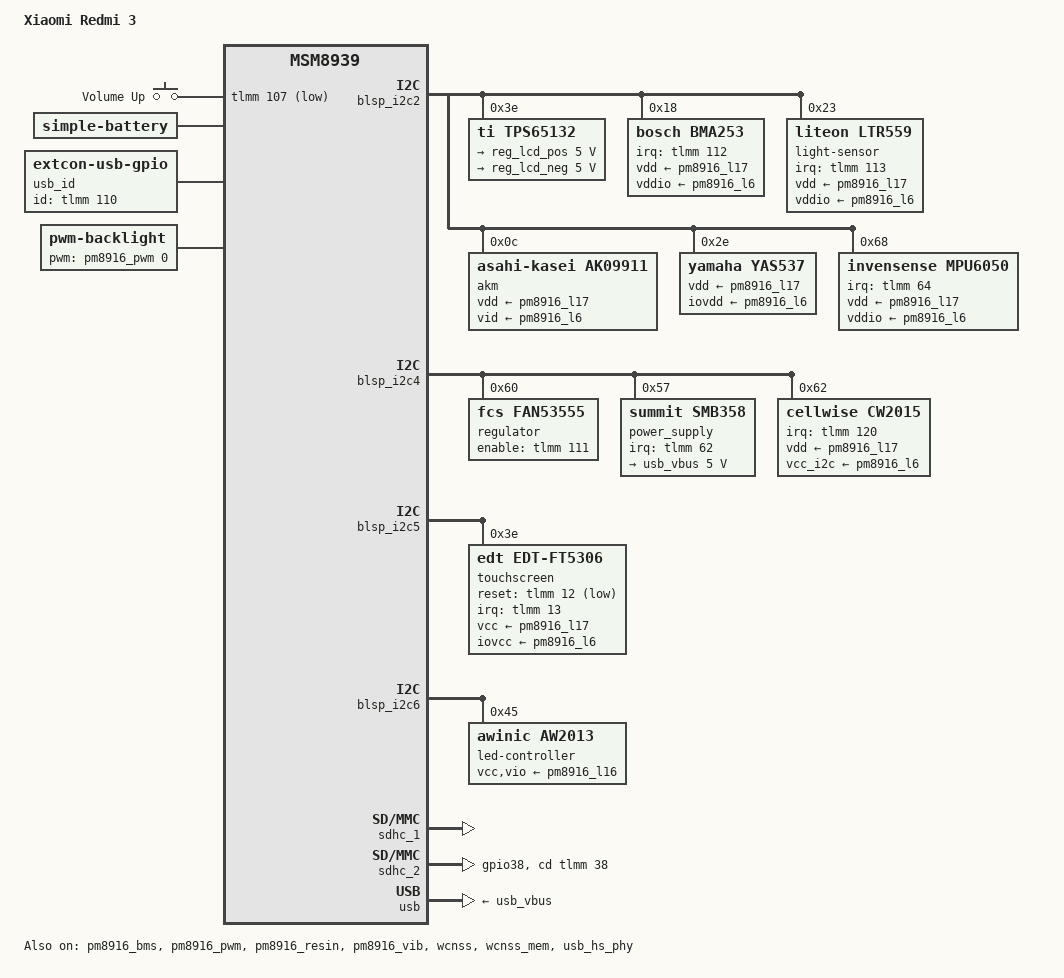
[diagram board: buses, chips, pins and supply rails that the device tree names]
// SPDX-License-Identifier: GPL-2.0-only

/dts-v1/;

#include "msm8939-pm8916.dtsi"
#include "msm8916-modem.dtsi"
#include <dt-bindings/gpio/gpio.h>
#include <dt-bindings/pinctrl/qcom,pmic-mpp.h>
#include <dt-bindings/leds/common.h>
#include <dt-bindings/sound/apq8016-lpass.h>
#include <dt-bindings/power/summit,smb347-charger.h>

/ {
	model = "Xiaomi Redmi 3";
	compatible = "xiaomi,ido", "qcom,msm8939", "qcom,msm8939-qrd-skuk", "qcom,qrd";
	chassis-type = "handset";
	qcom,msm-id = <239 0>;
	qcom,board-id = <0x1000b 11>, <0x2000b 11>;
/*
panel {
		compatible = "xiaomi,hx8394fboe";
		qcom,mdss_dsi_ili9881c_tianma_720p_video {
			compatible = "xiaomi,tianma-ili9881c";
		};

		qcom,mdss_dsi_nt35521s_ebbg_720p_video {
			compatible = "xiaomi,nt35521s-ebbg";
		};

		qcom,mdss_dsi_nt35596_1080p_video {
			compatible = "xiaomi,nt35596";
		};

		qcom,mdss_dsi_r63350_1080p_video {
			compatible = "xiaomi,r63350";
		};

		qcom,mdss_dsi_nt35596_1080p_skuk_video {
			compatible = "mdss,nt35596-skuk";
		};

		qcom,mdss_dsi_hx8394f_boe_720p_video {
			compatible = "xiaomi,hx8394f-boe";
		};
	};

*/
	aliases {
		mmc0 = &sdhc_1; /* eMMC */
		mmc1 = &sdhc_2; /* SD card */
		serial0 = &blsp_uart2;
	};

	chosen {
		stdout-path = "serial0";
		
		bootargs = "fbcon=nodefer earlycon=tty0 console=tty0 clk_ignore_unused pd_ignore_unused";
		#address-cells = <2>;
		#size-cells = <2>;
		ranges;

		framebuffer0: framebuffer@83003000 {
			status= "okay";
			compatible = "simple-framebuffer";
			reg = <0x0 0x83200000 0x0 0x2000000>;
			width = <720>;
			height = <1280>;
			stride = <(720 * 3)>;
			format = "r8g8b8";
		};
		

	};

    reserved-memory {
        /delete-node/ rmtfs@86681000;
		/delete-node/ rfsa@867e0000;
		/delete-node/ tz-apps@86000000;

ramoops@xdfe00000 {
			compatible = "ramoops";
			reg = <0 0xdfe00000 0 0x100000>;
			record-size = <0x4000>;
			console-size = <0x4000>;
};

		cont_splash_mem: framebuffer@83000000 {
			reg = <0x0 0x83000000 0x0 0x2000000>;
			no-map;
		};

		mpss_mem: mpss@86800000 {
			reg = <0x0 0x86800000 0x0 0x5500000>;
			no-map;
		};
        tz-apps@8c400000 {
			reg = <0x0 0x8c400000 0x0 0x1900000>;
			no-map;
		};
	};

    gpio-keys {
		compatible = "gpio-keys";

		pinctrl-names = "default";

		label = "GPIO Buttons";

		volume-up {
			label = "Volume Up";
			gpios = <&tlmm 107 GPIO_ACTIVE_LOW>;
			linux,code = <KEY_VOLUMEUP>;
		};
	};

    battery: battery-cell {
        compatible = "simple-battery";
        charge-full-design-microamp-hours = <4000000>;
        over-voltage-threshold-microvolt = <4400000>;
	voltage-max-design-microvolt = <4400000>;
	voltage-min-design-microvolt = <3400000>;
	constant-charge-current-max-microamp = <1800000>;
	operating-range-celsius = <0 45>;
        alert-celsius = <3 42>;
	ocv-capacity-celsius = <25>;
	ocv-capacity-table-0 = <4380000 100>, <4292000 95>,
			<4234000 90>, <4190000 85>, <4158000 80>, <4125000 75>,
			<4090000 70>, <4040000 65>, <3988000 60>, <3950000 55>,
			<3925000 50>, <3880000 45>, <3840000 40>, <3800000 35>,
			<3784000 30>, <3761000 25>, <3743000 20>, <3722000 16>,
			<3702000 13>, <3690000 11>, <3688000 10>, <3687000 9>,
			<3685000 8>, <3683000 7>, <3677000 6>, <3656000 5>,
			<3612000 4>, <3554000 3>, <3462000 2>, <3322000 1>,
			<3000000 0>;
    };

    usb_id: usb-id {
		compatible = "linux,extcon-usb-gpio";
		id-gpio = <&tlmm 110 GPIO_ACTIVE_HIGH>;
		pinctrl-names = "default";
		pinctrl-0 = <&usb_id_default>;
	};

    backlight: backlight {
		compatible = "pwm-backlight";
		pwms = <&pm8916_pwm 0 100000>;

		brightness-levels = <0 255>;
		num-interpolated-steps = <255>;
		default-brightness-level = <130>;
	};
};

&blsp_dma {
	status = "okay";
};

&blsp_uart2 {
	status = "disabled";
};

&blsp_i2c2 {
	status = "okay";

	tps65132@3e {
		compatible = "ti,tps65132";
		reg = <0x3e>;

		pinctrl-names = "default";
		pinctrl-0 = <&tps65132_en_default>;

		reg_lcd_pos: outp {
			regulator-name = "outp";
			regulator-min-microvolt = <5000000>;
			regulator-max-microvolt = <5000000>;
			enable-gpios = <&tlmm 97 GPIO_ACTIVE_HIGH>;
			regulator-active-discharge = <1>;
		};

		reg_lcd_neg: outn {
			regulator-name = "outn";
			regulator-min-microvolt = <5000000>;
			regulator-max-microvolt = <5000000>;
			enable-gpios = <&tlmm 98 GPIO_ACTIVE_HIGH>;
			regulator-active-discharge = <1>;
		};
	};

	bma253@18 {
		compatible = "bosch,bma253";
		reg = <0x18>;
		pinctrl-names = "default","sleep";
		pinctrl-0 = <&bma2x2_int1_default &bma2x2_int2_default>;
		pinctrl-1 = <&bma2x2_int1_sleep &bma2x2_int2_sleep>;
		vdd-supply = <&pm8916_l17>;
		vddio-supply = <&pm8916_l6>;
		interrupt-parent = <&tlmm>;
		interrupts = <112 IRQ_TYPE_EDGE_RISING>;
		mount-matrix = "-1",  "0", "0",
			       "0", "1", "0",
			       "0",  "0", "1";
        };
   
        light-sensor@23 {
		compatible = "liteon,ltr559";
		reg = <0x23>;

		vdd-supply = <&pm8916_l17>;
		vddio-supply = <&pm8916_l6>;
		proximity-near-level = <75>;

		interrupt-parent = <&tlmm>;
		interrupts = <113 IRQ_TYPE_EDGE_FALLING>;

		pinctrl-0 = <&alsps_default>;
		pinctrl-1 = <&alsps_sleep>;
		pinctrl-names = "default","sleep";
	};

	akm@c {
		compatible = "asahi-kasei,ak09911";
		reg = <0x0c>;

		vdd-supply = <&pm8916_l17>;
		vid-supply = <&pm8916_l6>;
		mount-matrix = "0", "1", "0",
			      "-1", "0", "0",
			       "0", "0", "1";
	};
	
	yamaha@2e {
		compatible = "yamaha,yas537";
		reg = <0x2e>;
		vdd-supply = <&pm8916_l17>;
		iovdd-supply = <&pm8916_l6>;
		mount-matrix =  "1",  "0",  "0",
				"1",  "0",  "0",
				"0",  "0", "-1";
	};
	
	mpu6050: mpu6050@68 {
		compatible = "invensense,mpu6050";
		reg = <0x68>;

		interrupt-parent = <&tlmm>;
		interrupts = <64 IRQ_TYPE_EDGE_RISING>;
		mount-matrix = "0", "1", "0",
			       "1", "0", "0",
			       "0", "0", "1";
		vdd-supply = <&pm8916_l17>;
		vddio-supply = <&pm8916_l6>;
		pinctrl-0 = <&mpu6050_default>;
		pinctrl-1 = <&mpu6050_sleep>;
		pinctrl-names = "default","sleep";
	};

};

&blsp_i2c4 {

	status = "okay";

        regulator@60 {
            compatible = "fcs,fan53555";
            reg = <0x60>;
            regulator-name = "fan53555";
            pinctrl-names = "default";
	    pinctrl-0 = <&ext_buck_vsel_default>;
            regulator-min-microvolt = <1050000>;
            regulator-max-microvolt = <1350000>;
            enable-gpios = <&tlmm 111 GPIO_ACTIVE_HIGH>;
            regulator-boot-on;
	    regulator-always-on;
        };

	power_supply: charger@57 {
		compatible = "summit,smb358";
		reg = <0x57>;
		interrupt-parent = <&tlmm>;
		interrupts = <62 IRQ_TYPE_LEVEL_HIGH>;
		pinctrl-names = "default";
		pinctrl-0 = <&smb_int_default>;	
		summit,enable-charge-control = <SMB3XX_CHG_ENABLE_PIN_ACTIVE_HIGH>;
		summit,soft-compensation-method = <SMB3XX_SOFT_TEMP_COMPENSATE_CURRENT>;
            	//summit,inok-polarity = <SMB3XX_SYSOK_INOK_ACTIVE_LOW>;
            	summit,chip-temperature-threshold-celsius = <100>;
            	//summit,mains-current-limit-microamp = <2000000>;
            	summit,usb-current-limit-microamp = <500000>;
            	summit,enable-usb-charging;
		monitored-battery = <&battery>;

		usb_vbus: usb-vbus {
			regulator-name = "usb_vbus";
			regulator-min-microvolt = <5000000>;
			regulator-max-microvolt = <5000000>;
			regulator-min-microamp = <500000>;
			regulator-max-microamp = <500000>;
	};
};
	cw2015@62 {
		compatible = "cellwise,cw2015";
		reg = <0x62>;
		interrupt-parent = <&tlmm>;
		interrupts = <120 IRQ_TYPE_LEVEL_LOW>;
		cellwise,monitor-interval-ms = <1000>;
		vdd-supply = <&pm8916_l17>;
		vcc_i2c-supply = <&pm8916_l6>;
		monitored-battery = <&battery>;
		power-supplies = <&power_supply>;
		};
};

&blsp_i2c5 {
	status = "okay";

	touchscreen@3e {
		/* actually FT5336 */
		compatible = "edt,edt-ft5306";
		reg = <0x3e>;

		interrupt-parent = <&tlmm>;
		interrupts = <13 0x2008>;

		vcc-supply = <&pm8916_l17>;
		iovcc-supply = <&pm8916_l6>;

		reset-gpios = <&tlmm 12 GPIO_ACTIVE_LOW>;

		touchscreen-size-x = <720>;
		touchscreen-size-y = <1280>;

		pinctrl-names = "default";
		pinctrl-0 = <&touchscreen_default>;
	};
};

&blsp_i2c6 {
	status = "okay";

	led-controller@45 {
		#address-cells = <1>;
		#size-cells = <0>;

		compatible = "awinic,aw2013";

		reg = <0x45>;
		vcc-supply = <&pm8916_l16>;
		vio-supply = <&pm8916_l16>;
		led@0 {
			reg = <0>;
			led-max-microamp = <5000>;
			function = LED_FUNCTION_INDICATOR;
			color = <LED_COLOR_ID_RED>;
		};
		led@1 {
			reg = <1>;
			led-max-microamp = <5000>;
			function = LED_FUNCTION_INDICATOR;
			color = <LED_COLOR_ID_GREEN>;
		};
		led@2 {
			reg = <2>;
			led-max-microamp = <5000>;
			function = LED_FUNCTION_INDICATOR;
			color = <LED_COLOR_ID_BLUE>;
		};
	};
};
/*
&mdss_dsi0 {
	status = "okay";
	vdda-supply = <&pm8916_l2>;
	vddio-supply = <&pm8916_l6>;
	pinctrl-names = "default", "sleep";
	pinctrl-0 = <&mdss_default>;
	pinctrl-1 = <&mdss_sleep>;

panel: panel@0 {		
		compatible = "xiaomi,ido-panel";
		reg = <0>;
		
		power-supply = <&pm8916_l17>;
		backlight = <&backlight>;
		vsp-supply = <&reg_lcd_pos>;
		vsn-supply = <&reg_lcd_neg>;
		reset-gpios = <&tlmm 25 GPIO_ACTIVE_LOW>;
ports {
			#address-cells = <1>;
			#size-cells = <0>;

		port@0 {
			reg = <0>;
			panel_in: endpoint {
				remote-endpoint = <&mdss_dsi0_out>;
				};
			};
		};
	};
};
&mdss_dsi0_out {
	data-lanes = <0 1 2 3>;
	remote-endpoint = <&panel_in>;
};

&mdss_dsi0_phy {
	status = "okay";
	qcom,dsi-phy-regulator-ldo-mode;
};

&gpu {
	status = "okay";
};

&mdss {
	status = "okay";
};
*/
&pm8916_bms {
	status = "okay";
	monitored-battery = <&battery>;
};

&pm8916_pwm {
	status = "okay";
	pinctrl-names = "default";
	pinctrl-0 = <&pwm_out>;
};

&pm8916_resin {
	status = "okay";
	linux,code = <KEY_VOLUMEDOWN>;
};

&pm8916_vib {
	status = "okay";
};

&wcnss {
	status = "okay";
};

&wcnss_mem {
	status = "okay";
};

&wcnss_iris {
	compatible = "qcom,wcn3620";
};

&sdhc_1 {
	status = "okay";
};

&sdhc_2 {
	status = "okay";

	pinctrl-0 = <&sdc2_default &sdc2_cd_default>;
	pinctrl-1 = <&sdc2_sleep &sdc2_cd_default>;
	pinctrl-names = "default", "sleep";

	cd-gpios = <&tlmm 38 GPIO_ACTIVE_HIGH>;
};

&usb {
	status = "okay";
	extcon = <&usb_id>, <&usb_id>;
	vbus-supply = <&usb_vbus>;
};

&usb_hs_phy {
	extcon = <&usb_id>;
	status = "okay";
};


&pm8916_rpm_regulators {
		l1 {
			regulator-min-microvolt = <1225000>;
			regulator-max-microvolt = <1225000>;
		};

		pm8916_l4: l4 {
			regulator-min-microvolt = <2050000>;
			regulator-max-microvolt = <2050000>;
		};

		pm8916_l10: l10 {
			regulator-min-microvolt = <2700000>;
			regulator-max-microvolt = <2800000>;
		};

		pm8916_l14: l14 {
			regulator-min-microvolt = <1800000>;
			regulator-max-microvolt = <3300000>;
		};

		pm8916_l15: l15 {
			regulator-min-microvolt = <1800000>;
			regulator-max-microvolt = <3300000>;
		};

		pm8916_l16: l16 {
			regulator-min-microvolt = <2600000>;
			regulator-max-microvolt = <2600000>;
		};

		pm8916_l17: l17 {
			regulator-min-microvolt = <2850000>;
			regulator-max-microvolt = <2850000>;
            regulator-always-on;
		};

		pm8916_l18: l18 {
			regulator-min-microvolt = <2700000>;
			regulator-max-microvolt = <2700000>;
		};
	};

&tlmm {
	usb_id_default: usb-id-default {
		pins = "gpio110";
		function = "gpio";

		drive-strength = <8>;
		bias-pull-up;
	};

	ext_buck_vsel_default: ext_buck_vsel {
		pins = "gpio111";
		function = "gpio";

		drive-strength = <8>;
		bias-pull-up;
	};

smb_int_default: smb-int-default-state {
		pins = "gpio62";
		function = "gpio";

		drive-strength = <2>;
		bias-pull-up;
	};

    mdss {
		mdss_default: mdss-default {
			pins = "gpio25";
			function = "gpio";

			drive-strength = <8>;
			bias-disable;
		};
		mdss_sleep: mdss-sleep {
			pins = "gpio25";
			function = "gpio";

			drive-strength = <2>;
			bias-pull-down;
		};
	};

    bma2x2_int1_pin {
		bma2x2_int1_default: int1_default {
			pins = "gpio112";
			function = "gpio";

			drive-strength = <6>;
			bias-pull-up;
		};
		bma2x2_int1_sleep: int1_sleep {
			pins = "gpio112";
			function = "gpio";

			drive-strength = <2>;
			bias-pull-down;
		};
	};

	bma2x2_int2_pin {
		bma2x2_int2_default: int2_default {
			pins = "gpio114";
			function = "gpio";

			drive-strength = <6>;
			bias-pull-up;
		};
		bma2x2_int2_sleep: int2_sleep {
			pins = "gpio114";
			function = "gpio";

			drive-strength = <2>;
			bias-pull-down;
		};
	};

    ltr559_int_pin {
		alsps_default: alsps_default {
			pins = "gpio113";
			function = "gpio";

			drive-strength = <6>;
			bias-pull-up;
		};
		alsps_sleep: alsps_sleep {
			pins = "gpio113";
			function = "gpio";

			drive-strength = <2>;
			bias-pull-down;
		};
};

    mpu6050_int_pin {
		mpu6050_default: mpu6050_default {
			pins = "gpio115";
			function = "gpio";

			drive-strength = <6>;
			bias-pull-up;
		};
		mpu6050_sleep: mpu6050_sleep {
			pins = "gpio115";
			function = "gpio";

			drive-strength = <2>;
			bias-pull-down;
		};
	};

touchscreen_default: touchscreen-default {
		pins = "gpio13";
		function = "gpio";

		drive-strength = <2>;
		bias-pull-up;

		reset {
			pins = "gpio12";
			function = "gpio";

			drive-strength = <2>;
			bias-disable;
		};
	};

	tps65132_en_default: tps65132-en-default {
		pins = "gpio97", "gpio98";
		function = "gpio";

		drive-strength = <2>;
		bias-pull-down;
	};

	sdc2_cd_default: sdc2-cd-default-state {
		pins = "gpio38";
		function = "gpio";
		drive-strength = <2>;
		bias-disable;
	};
};

&pm8916_mpps {
	pwm_out: mpp4 {
		pins = "mpp4";
		function = "digital";

		output-low;
		qcom,dtest = <1>;
		power-source = <PM8916_MPP_VPH>;
	};
};
